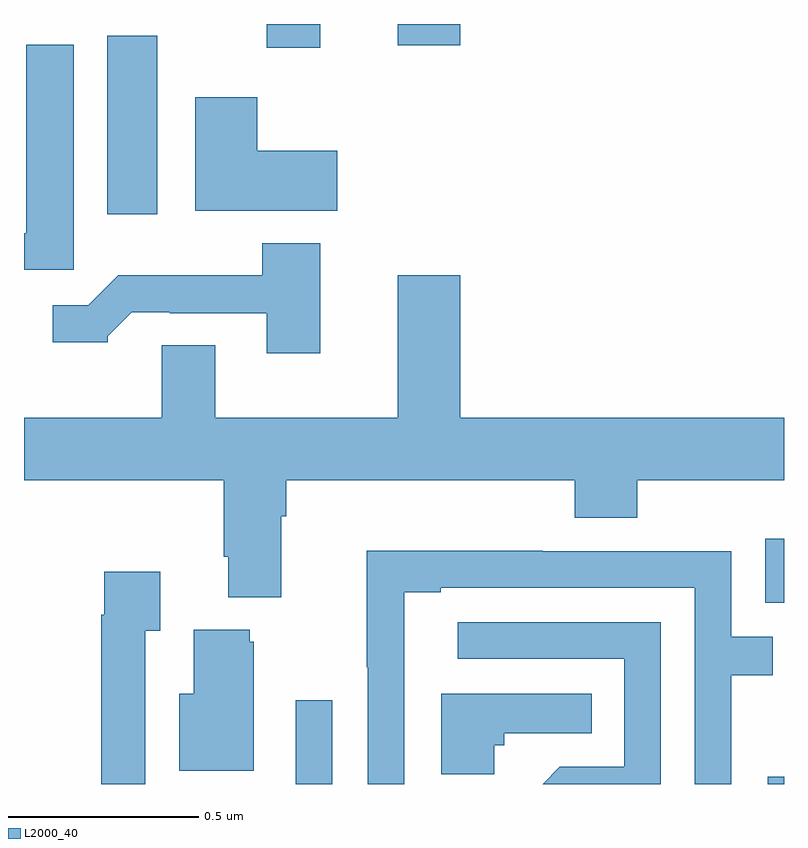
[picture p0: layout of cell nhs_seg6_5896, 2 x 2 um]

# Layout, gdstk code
import gdstk
lib = gdstk.Library(unit=1e-6, precision=1e-09)
def R(c, l, rs):  # rectangles x0, y0, x1, y1
    for r in rs: c.add(gdstk.rectangle(r[:2], r[2:], *l))
def P(c, l, *ps):  # polygons
    for p in ps: c.add(gdstk.Polygon(p, *l))
L2000_40 = (2000, 40)

nhs_seg6_5896 = lib.new_cell('nhs_seg6_5896')
R(nhs_seg6_5896, L2000_40, [(188.715,982.5,188.811,982.72), (189.957,982.5,190,982.519), (189.951,982.977,190,983.146), (188.219,984,188.35,984.469), (188.639,984.438,188.779,984.5), (188.984,984.444,189.148,984.5)])
P(nhs_seg6_5896, L2000_40, [(188.131,984.445),(188.006,984.445),(188.006,983.95),(188,983.95),(188,983.853),(188.131,983.853)],
  [(188.824,984.166),(188.614,984.166),(188.614,984.307),(188.45,984.307),(188.45,984.008),(188.824,984.008)],
  [(188.779,983.923),(188.627,983.923),(188.627,983.839),(188.248,983.839),(188.169,983.76),(188.076,983.76),(188.076,983.663),(188.22,983.663),(188.22,983.678),(188.284,983.742),(188.383,983.742),(188.383,983.739),(188.639,983.739),(188.639,983.634),(188.779,983.634)],
  [(188.677,983.204),(188.69,983.204),(188.69,983.3),(189.449,983.3),(189.449,983.201),(189.614,983.201),(189.614,983.3),(190,983.3),(190,983.464),(189.148,983.464),(189.148,983.839),(188.984,983.839),(188.984,983.464),(188.503,983.464),(188.503,983.654),(188.363,983.654),(188.363,983.464),(188,983.464),(188,983.3),(188.525,983.3),(188.525,983.098),(188.537,983.098),(188.537,982.991),(188.677,982.991)],
  [(189,983.004),(189.097,983.004),(189.097,983.016),(189.765,983.016),(189.765,982.5),(189.861,982.5),(189.861,982.786),(189.971,982.786),(189.971,982.887),(189.861,982.887),(189.861,983.112),(189.365,983.112),(189.365,983.114),(188.902,983.114),(188.902,982.807),(188.904,982.807),(188.904,982.5),(189,982.5)],
  [(188.319,982.903),(188.359,982.903),(188.359,983.059),(188.211,983.059),(188.211,982.946),(188.203,982.946),(188.203,982.5),(188.319,982.5)],
  [(189.675,982.926),(189.141,982.926),(189.141,982.83),(189.579,982.83),(189.579,982.545),(189.41,982.545),(189.365,982.5),(189.675,982.5)],
  [(188.605,982.875),(188.594,982.875),(188.594,982.906),(188.447,982.906),(188.447,982.738),(188.408,982.738),(188.408,982.535),(188.605,982.535)],
  [(189.237,982.602),(189.264,982.602),(189.264,982.634),(189.494,982.634),(189.494,982.738),(189.098,982.738),(189.098,982.526),(189.237,982.526)])

lib.write_gds('nhs_seg6_5896.gds')
